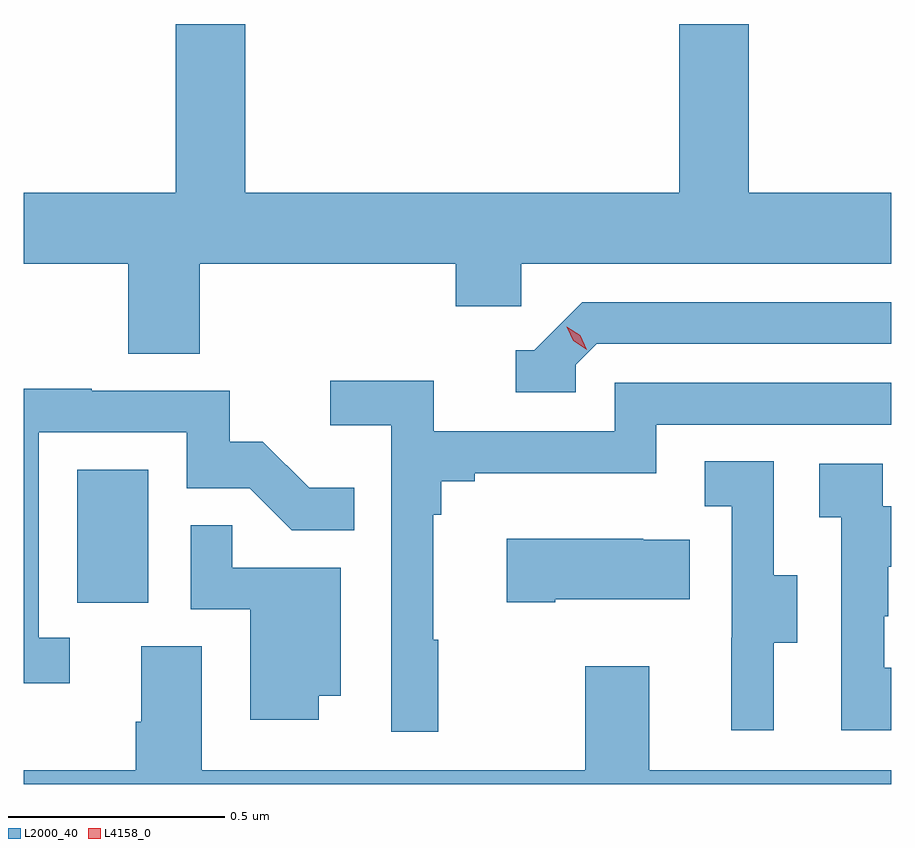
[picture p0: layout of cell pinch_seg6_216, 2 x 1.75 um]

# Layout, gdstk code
import gdstk
lib = gdstk.Library(unit=1e-6, precision=1e-09)
def R(c, l, rs):  # rectangles x0, y0, x1, y1
    for r in rs: c.add(gdstk.rectangle(r[:2], r[2:], *l))
def P(c, l, *ps):  # polygons
    for p in ps: c.add(gdstk.Polygon(p, *l))
L2000_40 = (2000, 40)
L4158_0 = (4158, 0)

pinch_seg6_216 = lib.new_cell('pinch_seg6_216')
R(pinch_seg6_216, L2000_40, [(1031.12,915.918,1031.284,916.225)])
P(pinch_seg6_216, L2000_40, [(1032.997,916.864),(1032.669,916.864),(1032.669,917.253),(1032.509,917.253),(1032.509,916.864),(1031.507,916.864),(1031.507,917.253),(1031.347,917.253),(1031.347,916.864),(1030.997,916.864),(1030.997,916.7),(1031.237,916.7),(1031.237,916.492),(1031.402,916.492),(1031.402,916.7),(1031.993,916.7),(1031.993,916.602),(1032.144,916.602),(1032.144,916.7),(1032.997,916.7)],
  [(1032.27,916.467),(1032.318,916.515),(1032.997,916.515),(1032.997,916.611),(1032.285,916.611),(1032.174,916.5),(1032.131,916.5),(1032.131,916.404),(1032.27,916.404)],
  [(1031.953,915.833),(1031.941,915.833),(1031.941,916.121),(1031.96,916.121),(1031.96,916.198),(1032.037,916.198),(1032.037,916.217),(1032.456,916.217),(1032.456,916.329),(1032.997,916.329),(1032.997,916.425),(1032.36,916.425),(1032.36,916.314),(1031.942,916.314),(1031.942,916.43),(1031.703,916.43),(1031.703,916.328),(1031.844,916.328),(1031.844,915.621),(1031.953,915.621)],
  [(1031.103,915.837),(1031.031,915.837),(1031.031,916.311),(1031.373,916.311),(1031.373,916.182),(1031.518,916.182),(1031.615,916.085),(1031.759,916.085),(1031.759,916.183),(1031.655,916.183),(1031.548,916.29),(1031.472,916.29),(1031.472,916.407),(1031.153,916.407),(1031.153,916.412),(1030.997,916.412),(1030.997,915.732),(1031.103,915.732)],
  [(1032.727,915.826),(1032.781,915.826),(1032.781,915.981),(1032.726,915.981),(1032.726,916.244),(1032.567,916.244),(1032.567,916.141),(1032.63,916.141),(1032.63,915.837),(1032.629,915.837),(1032.629,915.624),(1032.727,915.624)],
  [(1032.997,915.768),(1032.981,915.768),(1032.981,915.887),(1032.991,915.887),(1032.991,916.001),(1032.997,916.001),(1032.997,916.141),(1032.978,916.141),(1032.978,916.239),(1032.831,916.239),(1032.831,916.115),(1032.882,916.115),(1032.882,915.624),(1032.997,915.624)],
  [(1031.677,915.704),(1031.728,915.704),(1031.728,915.999),(1031.477,915.999),(1031.477,916.097),(1031.382,916.097),(1031.382,915.903),(1031.519,915.903),(1031.519,915.648),(1031.677,915.648)],
  [(1032.223,915.926),(1032.533,915.926),(1032.533,916.063),(1032.425,916.063),(1032.425,916.066),(1032.111,916.066),(1032.111,915.919),(1032.223,915.919)],
  [(1032.997,915.532),(1032.439,915.532),(1032.439,915.772),(1032.292,915.772),(1032.292,915.532),(1031.407,915.532),(1031.407,915.818),(1031.267,915.818),(1031.267,915.644),(1031.255,915.644),(1031.255,915.532),(1030.997,915.532),(1030.997,915.5),(1032.997,915.5)])
P(pinch_seg6_216, L4158_0, [(1032.295,916.502),(1032.264,916.522),(1032.249,916.555),(1032.249,916.555),(1032.249,916.555),(1032.28,916.535),(1032.295,916.502),(1032.295,916.502)])

lib.write_gds('pinch_seg6_216.gds')
